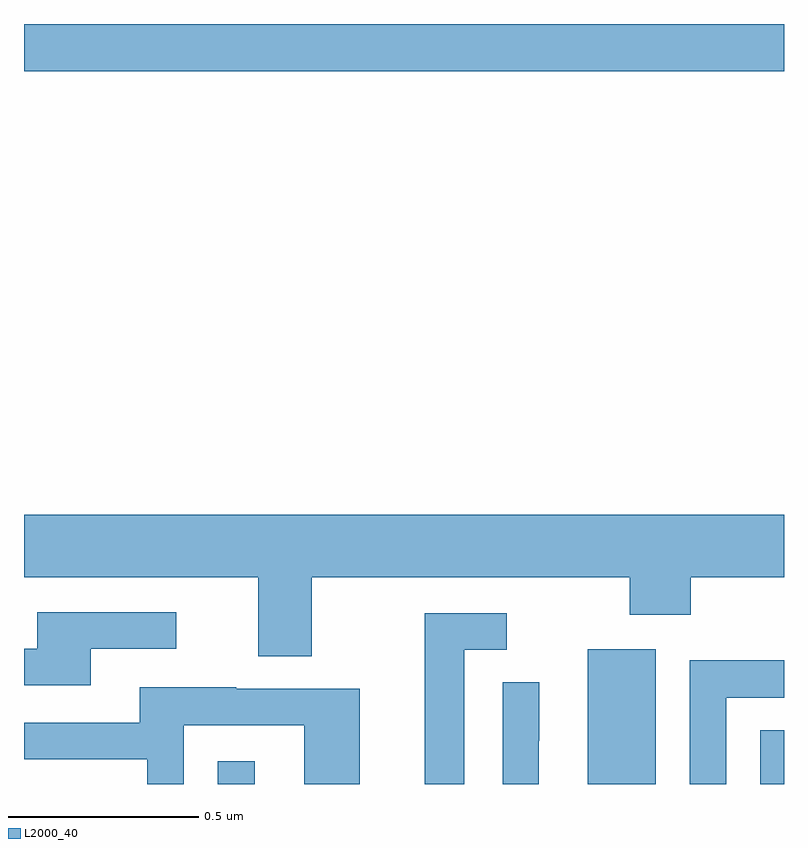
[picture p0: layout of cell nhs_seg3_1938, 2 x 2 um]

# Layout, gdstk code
import gdstk
lib = gdstk.Library(unit=1e-6, precision=1e-09)
def R(c, l, rs):  # rectangles x0, y0, x1, y1
    for r in rs: c.add(gdstk.rectangle(r[:2], r[2:], *l))
def P(c, l, *ps):  # polygons
    for p in ps: c.add(gdstk.Polygon(p, *l))
L2000_40 = (2000, 40)

nhs_seg3_1938 = lib.new_cell('nhs_seg3_1938')
R(nhs_seg3_1938, L2000_40, [(135.51,672.4,135.607,672.46), (136.484,672.4,136.663,672.754), (136.937,672.4,137,672.542), (135,674.276,137,674.4)])
P(nhs_seg3_1938, L2000_40, [(135.757,672.944),(136.594,672.944),(136.594,672.845),(136.754,672.845),(136.754,672.944),(137,672.944),(137,673.108),(135,673.108),(135,672.944),(135.617,672.944),(135.617,672.736),(135.757,672.736)],
  [(135.175,672.756),(135.4,672.756),(135.4,672.852),(135.035,672.852),(135.035,672.756),(135,672.756),(135,672.66),(135.175,672.66)],
  [(136.159,672.753),(136.27,672.753),(136.27,672.849),(136.055,672.849),(136.055,672.4),(136.159,672.4)],
  [(136.848,672.627),(137,672.627),(137,672.726),(136.752,672.726),(136.752,672.4),(136.848,672.4)],
  [(136.355,672.514),(136.356,672.514),(136.356,672.668),(136.26,672.668),(136.26,672.4),(136.355,672.4)],
  [(135.42,672.555),(135.738,672.555),(135.738,672.4),(135.883,672.4),(135.883,672.651),(135.559,672.651),(135.559,672.655),(135.305,672.655),(135.305,672.561),(135,672.561),(135,672.465),(135.324,672.465),(135.324,672.4),(135.42,672.4)])

lib.write_gds('nhs_seg3_1938.gds')
